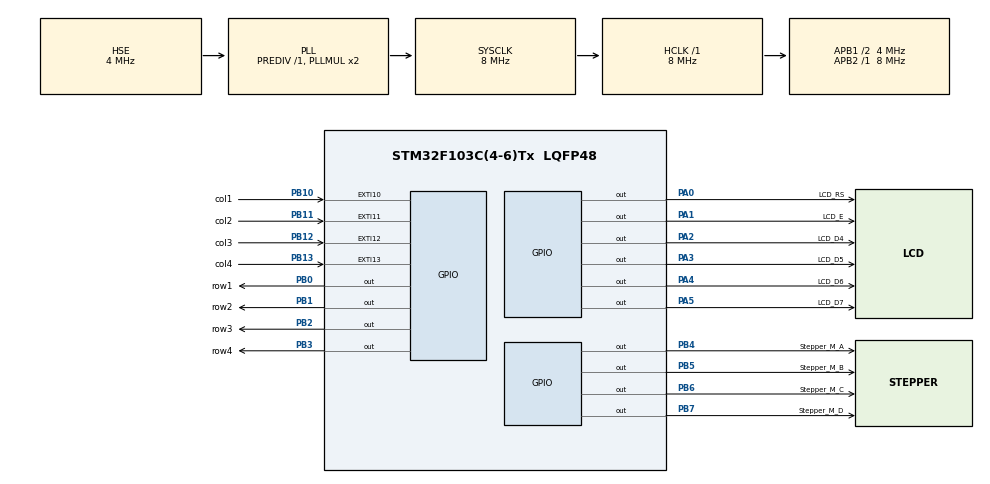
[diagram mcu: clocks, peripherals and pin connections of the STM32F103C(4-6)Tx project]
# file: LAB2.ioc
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Mcu.Family=STM32F1
Mcu.Name=STM32F103C(4-6)Tx
Mcu.Package=LQFP48
NVIC.EXTI15_10_IRQn=true\:3\:0\:true\:false\:true\:true\:true
NVIC.PriorityGroup=NVIC_PRIORITYGROUP_4
NVIC.TIM1_UP_IRQn=true\:0\:0\:true\:false\:true\:true\:true
NVIC.TIM2_IRQn=true\:2\:0\:true\:false\:true\:true\:true
PA0-WKUP.GPIO_Label=LCD_RS
PA0-WKUP.Signal=GPIO_Output
PA1.GPIO_Label=LCD_E
PA1.Signal=GPIO_Output
PA2.GPIO_Label=LCD_D4
PA2.Signal=GPIO_Output
PA3.GPIO_Label=LCD_D5
PA3.Signal=GPIO_Output
PA4.GPIO_Label=LCD_D6
PA4.Signal=GPIO_Output
PA5.GPIO_Label=LCD_D7
PA5.Signal=GPIO_Output
PB0.GPIO_Label=row1
PB0.Signal=GPIO_Output
PB1.GPIO_Label=row2
PB1.Signal=GPIO_Output
PB10.GPIO_Label=col1
PB10.GPIO_ModeDefaultEXTI=GPIO_MODE_IT_FALLING
PB10.GPIO_PuPd=GPIO_PULLUP
PB10.Signal=GPXTI10
PB11.GPIO_Label=col2
PB11.GPIO_ModeDefaultEXTI=GPIO_MODE_IT_FALLING
PB11.GPIO_PuPd=GPIO_PULLUP
PB11.Signal=GPXTI11
PB12.GPIO_Label=col3
PB12.GPIO_ModeDefaultEXTI=GPIO_MODE_IT_FALLING
PB12.GPIO_PuPd=GPIO_PULLUP
PB12.Signal=GPXTI12
PB13.GPIO_Label=col4
PB13.GPIO_ModeDefaultEXTI=GPIO_MODE_IT_FALLING
PB13.GPIO_PuPd=GPIO_PULLUP
PB13.Signal=GPXTI13
PB2.GPIO_Label=row3
PB2.Signal=GPIO_Output
PB3.GPIO_Label=row4
PB3.Signal=GPIO_Output
PB4.GPIO_Label=Stepper_M_A
PB4.Signal=GPIO_Output
PB5.GPIO_Label=Stepper_M_B
PB5.Signal=GPIO_Output
PB6.GPIO_Label=Stepper_M_C
PB6.Signal=GPIO_Output
PB7.GPIO_Label=Stepper_M_D
PB7.Signal=GPIO_Output
PD0-OSC_IN.Mode=HSE-External-Oscillator
PD0-OSC_IN.Signal=RCC_OSC_IN
PD1-OSC_OUT.Mode=HSE-External-Oscillator
PD1-OSC_OUT.Signal=RCC_OSC_OUT
ProjectManager.HeapSize=0x200
ProjectManager.StackSize=0x400
ProjectManager.TargetToolchain=MDK-ARM V5.27
RCC.AHBFreq_Value=8000000
RCC.APB1CLKDivider=RCC_HCLK_DIV2
RCC.APB1Freq_Value=4000000
RCC.APB1TimFreq_Value=8000000
RCC.APB2Freq_Value=8000000
RCC.APB2TimFreq_Value=8000000
RCC.HCLKFreq_Value=8000000
RCC.HSE_VALUE=4000000
RCC.PLLSourceVirtual=RCC_PLLSOURCE_HSE
RCC.SYSCLKFreq_VALUE=8000000
RCC.SYSCLKSource=RCC_SYSCLKSOURCE_PLLCLK
RCC.USBFreq_Value=8000000
TIM1.Period=62499
TIM1.Prescaler=63
TIM2.Period=62499
TIM2.Prescaler=63
VP_SYS_VS_ND.Mode=No_Debug
VP_TIM1_VS_ClockSourceINT.Mode=Internal
VP_TIM2_VS_ClockSourceINT.Mode=Internal
board=custom

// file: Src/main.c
/* USER CODE BEGIN Header */
/**
  ******************************************************************************
  * @file           : main.c
  * @brief          : Main program body
  ******************************************************************************
  * @attention
  *
  * <h2><center>&copy; Copyright (c) 2020 STMicroelectronics.
  * All rights reserved.</center></h2>
  *
  * This software component is licensed by ST under BSD 3-Clause license,
  * the "License"; You may not use this file except in compliance with the
  * License. You may obtain a copy of the License at:
  *                        opensource.org/licenses/BSD-3-Clause
  *
  ******************************************************************************
  */
/* USER CODE END Header */

#include "main.h"
#include "tim.h"
#include "gpio.h"

/* USER CODE BEGIN Includes */
#include "lm016.h"
#include <stdio.h>
#include <math.h>
unsigned char keys[16] = {'7', '8', '9', 'A', '4', '5', '6', 'B', '1', '2', '3', 'C', '.', '0', 'E','F'};
volatile int flag_interupt=0; //when this flag set to high, one key is pressed and it's time to scan keypad.
int keypad_scan();
void shift(int i); //this function is used to move one zero between rows of keypad.
void stepper(int direction);
void steper_degree(float teta);
int Steps=0; //this variable is used to know what step we should take in moving stepper motor.
void setMotor(int A_State,int B_State,int C_State,int D_State); //setting motor pins.
int steps_to_move; //this mean number of steps we have to take. if its negative we should go anticlockwise, else clockwise.
int menu1_state = 0; //this means that we are at menu1
void menu1(void); //used for printing degree of motor on lcd
int dot_pressed = 0;
float number_pressed = 0; //number that user has pressed on keypad.
int direction;
/* USER CODE END Includes */

/* USER CODE BEGIN PV */
int curren_position = 0;

/* USER CODE END PV */

void SystemClock_Config(void);

int main(void)
{

  /* MCU Configuration--------------------------------------------------------*/

  /* Reset of all peripherals, Initializes the Flash interface and the Systick. */
  HAL_Init();

  /* Configure the system clock */
  SystemClock_Config();

  /* Initialize all configured peripherals */
  MX_GPIO_Init();
  MX_TIM1_Init();
  MX_TIM2_Init();
  /* USER CODE BEGIN 2 */
	LCD_Init();
	LCD_Clear();
	menu1();
	//steper_degree(100);

  /* USER CODE END 2 */

  /* Infinite loop */
  /* USER CODE BEGIN WHILE */
  while (1)
  {

			if(menu1_state == 1 && flag_interupt == 1 ) //if we are at menu1 and keypad is pressed
			{
				if(keypad_scan() == 14) //if "=" is pressed
				{
					menu1_state = 0; //we go to menu2
					LCD_Clear();
					LCD_PutString("TYPE ANGLE > = ");
					LCD_SetCursor(2,1);
				}
				flag_interupt = 0; //to trigger if once until next interupt has come.
			}
			if(menu1_state == 0 && flag_interupt==1) //if we are at menu2 and key is pressed
			{
				int index_pressed = keypad_scan();
				if(index_pressed == 14) //if "=" is pressed
				{
					steper_degree(number_pressed); //setting degree that we want to move there.
					menu1_state = 1; //go to menu1
					number_pressed = 0; //reseting number_pressed so that when setting new value,it starts at zero not last number.
				}
				flag_interupt = 0; //to trigger if once until next interupt has come.
				if(menu1_state == 0) //if we are at menu2
				{
					LCD_PutChar(keys[index_pressed]);
				if(index_pressed == 12)
					dot_pressed = 1;
				if(dot_pressed == 1 && index_pressed != 12)
				{
					int x = keys[index_pressed] - '0';
					float y = x/10.0;
					number_pressed = number_pressed + y;
					dot_pressed = 0;
				}
				else if(index_pressed != 12)
				{
					number_pressed = 10 * number_pressed + (keys[index_pressed] - '0');
				}

			}
		}
}

    /* USER CODE END WHILE */

}

void SystemClock_Config(void)
{
  RCC_OscInitTypeDef RCC_OscInitStruct = {0};
  RCC_ClkInitTypeDef RCC_ClkInitStruct = {0};

  /** Initializes the CPU, AHB and APB busses clocks
  */
  RCC_OscInitStruct.OscillatorType = RCC_OSCILLATORTYPE_HSE;
  RCC_OscInitStruct.HSEState = RCC_HSE_ON;
  RCC_OscInitStruct.HSEPredivValue = RCC_HSE_PREDIV_DIV1;
  RCC_OscInitStruct.HSIState = RCC_HSI_ON;
  RCC_OscInitStruct.PLL.PLLState = RCC_PLL_ON;
  RCC_OscInitStruct.PLL.PLLSource = RCC_PLLSOURCE_HSE;
  RCC_OscInitStruct.PLL.PLLMUL = RCC_PLL_MUL2;
  if (HAL_RCC_OscConfig(&RCC_OscInitStruct) != HAL_OK)
  {
    Error_Handler();
  }
  /** Initializes the CPU, AHB and APB busses clocks
  */
  RCC_ClkInitStruct.ClockType = RCC_CLOCKTYPE_HCLK|RCC_CLOCKTYPE_SYSCLK
                              |RCC_CLOCKTYPE_PCLK1|RCC_CLOCKTYPE_PCLK2;
  RCC_ClkInitStruct.SYSCLKSource = RCC_SYSCLKSOURCE_PLLCLK;
  RCC_ClkInitStruct.AHBCLKDivider = RCC_SYSCLK_DIV1;
  RCC_ClkInitStruct.APB1CLKDivider = RCC_HCLK_DIV2;
  RCC_ClkInitStruct.APB2CLKDivider = RCC_HCLK_DIV1;

  if (HAL_RCC_ClockConfig(&RCC_ClkInitStruct, FLASH_LATENCY_0) != HAL_OK)
  {
    Error_Handler();
  }
}

/* USER CODE BEGIN 4 */
void HAL_GPIO_EXTI_Callback(uint16_t GPIO_Pin)
{
	flag_interupt = 1; //this means that some key is pressed.
}

void shift(int i)
{
	unsigned char pins[4] = {0x07,0xB,0xD,0xE};

	HAL_GPIO_WritePin(row1_GPIO_Port,row1_Pin,(GPIO_PinState) (pins[i] & 0x8)); //if output of (pins[i] & 0x8) is anything excpet 0x00 it will cast to GPIO_PIN_SET
	HAL_GPIO_WritePin(row2_GPIO_Port,row2_Pin,(GPIO_PinState) (pins[i] & 0x4));
	HAL_GPIO_WritePin(row3_GPIO_Port,row3_Pin,(GPIO_PinState) (pins[i] & 0x2));
	HAL_GPIO_WritePin(row4_GPIO_Port,row4_Pin,(GPIO_PinState) (pins[i] & 0x1));
}

int keypad_scan()
{
	int position; //position in keys array.

	for (int row = 0; row<4; row++)
	{
		shift(row); //shifting zero in rows.
		int col = -1;
		if(HAL_GPIO_ReadPin(col1_GPIO_Port,col1_Pin) == GPIO_PIN_RESET) //reading which column is pressed.
			col = 0;
		if(HAL_GPIO_ReadPin(col2_GPIO_Port,col2_Pin) == GPIO_PIN_RESET)
			col = 1;
		if(HAL_GPIO_ReadPin(col3_GPIO_Port,col3_Pin) == GPIO_PIN_RESET)
			col = 2;
		if(HAL_GPIO_ReadPin(col4_GPIO_Port,col4_Pin) == GPIO_PIN_RESET)
			col = 3;
		if(col != -1) //some key is pressed.
		{

			position = 4 * row + col; //finding index of pressed key in array with variables, row and col. (according to the _7_seg[16] array)
			col = -1;
			HAL_GPIO_WritePin(row1_GPIO_Port,row1_Pin,GPIO_PIN_RESET);
			HAL_GPIO_WritePin(row2_GPIO_Port,row2_Pin,GPIO_PIN_RESET); //reseting pins to initial values so when some key is pressed,we have falling edge interupt again.
			HAL_GPIO_WritePin(row3_GPIO_Port,row3_Pin,GPIO_PIN_RESET);
			HAL_GPIO_WritePin(row4_GPIO_Port,row4_Pin,GPIO_PIN_RESET);
			return position;
		}
			HAL_Delay(10);
	}
}

void steper_degree(float teta)
{
	//based on teta finds how many steps the motor should take
	float teta_to_move = teta - curren_position*0.9;   //current position is number of steps that we have gone. so if we multiply by 0.9, it will change to degree.

	if(teta_to_move > 180) //this if is for when we want to move least steps.
		teta_to_move = teta_to_move - 360;
	else if(-1 * teta_to_move > 180)
		teta_to_move = 360 + teta_to_move;

	float a = round(teta_to_move / 0.9); //changing from degree to number of steps we need to take.
	steps_to_move = (int) a; //cast to integer

	if(steps_to_move < 0) //anti clockwise
	{
		direction = 1;
		steps_to_move = -1 * steps_to_move;
	}
	else //clockwise
		direction = 0;

	HAL_TIM_Base_Start_IT(&htim1); // starting timer of motor
	HAL_TIM_Base_Start_IT(&htim2); // starting timer of lcd.
	menu1_state = 1; //go to menu1.
}

void setMotor(int A_State,int B_State,int C_State,int D_State)
{
	HAL_GPIO_WritePin(Stepper_M_A_GPIO_Port,Stepper_M_A_Pin,(GPIO_PinState) A_State);
	HAL_GPIO_WritePin(Stepper_M_B_GPIO_Port,Stepper_M_B_Pin,(GPIO_PinState) B_State);
	HAL_GPIO_WritePin(Stepper_M_C_GPIO_Port,Stepper_M_C_Pin,(GPIO_PinState) C_State);
	HAL_GPIO_WritePin(Stepper_M_D_GPIO_Port,Stepper_M_D_Pin,(GPIO_PinState) D_State);
}

void HAL_TIM_PeriodElapsedCallback (TIM_HandleTypeDef *htim)
{
	if(htim->Instance == TIM1)
	{
	if(direction ==  1) //we should move anti_clockwise
	{
		if(steps_to_move > 0) //while we have steps to take.
		{
			stepper(1); //ANTI_clockwise
			curren_position -= 1;
			steps_to_move --;
		}
	}
	else //clockwise
	{
			if(steps_to_move > 0 )
			{
				stepper(0); //clockwise
				curren_position += 1;
				steps_to_move --;
			}
	}
}
	else if(menu1_state == 1 && htim->Instance == TIM2) //if we want to show menu1 and interupt lcd has come.
		menu1();
}

void stepper(int direction)
{

		if(direction==0)//clockwise
			Steps++;
		else
			Steps--;

		if(Steps > 8)
			Steps = 1;

		if(Steps == 0)
			Steps = 8;

		if(Steps == -1) //when we are at 0 degree, going to step 8 wont change motor. so we go to case 7 to take one step anticlockwise.
			Steps = 7;

		switch(Steps)
		{
			case 1 : setMotor(1,0,0,0); break;
			case 2 : setMotor(1,1,0,0); break;
			case 3 : setMotor(0,1,0,0); break;
			case 4 : setMotor(0,1,1,0); break;
			case 5 : setMotor(0,0,1,0); break;
			case 6 : setMotor(0,0,1,1); break;
			case 7 : setMotor(0,0,0,1); break;
			case 8 : setMotor(1,0,0,1); break;

		}

}

void menu1()
{
	menu1_state = 1;
	char str[16];
	float t = curren_position * 0.9;
	if(t < 0)
		t = t + 360;
	int teta = t * 10;
	int x = teta % 10 ;
	teta = teta/10;
	int y = teta%10;
	teta = teta/10;
	int z = teta%10;
	teta = teta/10;
	int e = teta%10;

	uint8_t degree = 0xDF;
	LCD_SetCursor(1,1);
	sprintf(str,"ANGLE:  %d%d%d.%d",e,z,y,x);
	LCD_PutString(str);
	lcd_data(degree);
	LCD_SetCursor(2,1);
	LCD_PutString("= >CHANGE ANGLE");

}

/* USER CODE END 4 */

void Error_Handler(void)
{
}

/************************ (C) COPYRIGHT STMicroelectronics *****END OF FILE****/
